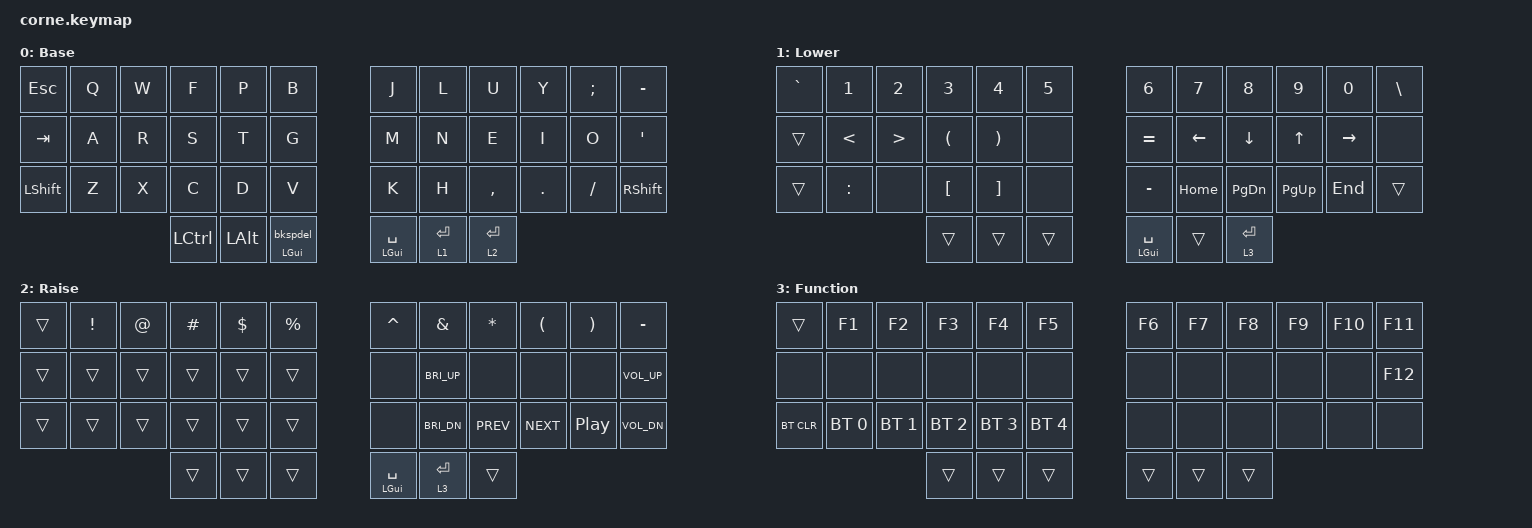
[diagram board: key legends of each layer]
        /*
        * Copyright (c) 2020 The ZMK Contributors
        *
        * SPDX-License-Identifier: MIT
        */

        #include <behaviors.dtsi>
        #include <dt-bindings/zmk/keys.h> 
        #include <dt-bindings/zmk/bt.h>


        &lt {
                quick-tap-ms = <200>;
        };
        &mt {
                quick-tap-ms = <200>;
        };
        / {
                behaviors {
                        hm:     homerow_mods {
                                compatible = "zmk,behavior-hold-tap";
                                #binding-cells = <2>;
                                tapping-term-ms = <200>;    // <---[[moderate duration]]
                                quick-tap-ms = <100>;
                                require-prior-idle-ms = <200>;
                                flavor = "tap-preferred";
                                bindings = <&kp>, <&kp>;
                        };
                        am: alt_mods {
                                compatible = "zmk,behavior-hold-tap";
                                #binding-cells = <2>;
                                tapping-term-ms = <500>;    // <---[[longer duration]]
                                quick-tap-ms = <100>;
                                require-prior-idle-ms = <500>;
                                flavor = "tap-preferred";
                                bindings = <&kp>, <&kp>;
                        };
                        bksp_or_space: bksp_or_space {
                                compatible = "zmk,behavior-mod-morph";
                                #binding-cells = <0>;
                                bindings = <&kp BKSP>, <&kp SPACE>;
                                mods = <(MOD_LCTL|MOD_RCTL)>;
                        };
                        bkspdel: backspace_delete {
                                compatible = "zmk,behavior-mod-morph";
                                #binding-cells = <0>;
                                bindings = <&bksp_or_space>, <&kp DELETE>;
                                mods = <(MOD_LSFT|MOD_RSFT)>;
                        };
                        bkspdel_layer: bkspdel_layer {
                                compatible = "zmk,behavior-hold-tap";
                                #binding-cells = <2>;
                                tapping-term-ms = <250>;
                                flavor = "tap-preferred";
                                bindings = <&kp>, <&bkspdel>;
                        };
                        space_cmd_ht: space_cmd_ht {
                                compatible = "zmk,behavior-hold-tap";
                                #binding-cells = <2>;
                                tapping-term-ms = <250>;
                                flavor = "tap-preferred";
                                bindings = <&kp>, <&kp>;
                        };

                };
                macros {
                        space_cmd: space_cmd {
                                compatible = "zmk,behavior-macro";
                                #binding-cells = <0>;
                                bindings
                                        = <&macro_press &kp LGUI>
                                        , <&macro_tap &kp SPACE>
                                        , <&macro_release &kp LGUI>
                                        ;
                        };
                };
                keymap {
                        compatible = "zmk,keymap";

                        default_layer {
        // -----------------------------------------------------------------------------------------
        // |  esc |  Q  |  W  |  F  |  p  |  b  |   |  j  |  l   |  u  |  y  |  ;  |  -
        // | tab |  A  |  r  |  s  |  t  |  G  |   |  m  |  n   |  e  |  i  |  o  |   '  |
        // | SHFT |  Z  |  X  |  C  |  d  |  v  |   |  k  |  h   |  ,  |  .  |  /  |   SHFT  |
        //          | ctrl | option | cmd-BKSPDESPACE |   | cmd-SPC |  lower-ENTER | layer-3

                                display-name = "Base";
                                bindings = <
        &kp ESC   &kp Q &kp W &kp F &kp P &kp B   &kp J &kp L  &kp U     &kp Y   &kp SEMI    &kp MINUS
        &kp TAB &kp A &kp R &kp S &kp T &kp G   &kp M &kp N  &kp E     &kp I   &kp O   &kp SQT
        &kp LSHFT &kp Z &kp X &kp C &kp D &kp V   &kp K &kp H  &kp COMMA &kp DOT &kp FSLH &kp RSHFT
                        &kp LCTRL &kp LALT &bkspdel_layer LGUI 0   &mt LGUI SPACE  &lt 1 ENTER  &lt 2 ENTER
                                >;
                        };
                        lower_layer {
        // ----------------------------------------------------------------------------------------
        // |   GRAVE   |  1  |  2  |  3  |  4  |  5  |   |  6  |  7   |  8   |  9  |  0  |   \   |
        // |      |  <  |  >  |  (  |  )  |     |   |  =  | LFT  |  DWN | UP  | RGT |     |
        // |      |  :  |     |  [  |  ]  |     |   |  -  | HOME | PGDN | PGUP| END |       |
        //                    |     |     |  cmd-bkspdel   |   |     |      |      |
                                display-name = "Lower";
                                bindings = <
                &kp GRAVE   &kp N1  &kp N2  &kp N3  &kp N4  &kp N5      &kp N6     &kp N7    &kp N8   &kp N9    &kp N0   &kp BSLH
                &trans   &kp LT  &kp GT  &kp LPAR  &kp RPAR &none   &kp EQUAL  &kp LEFT &kp DOWN &kp UP &kp RIGHT &none
                &trans &kp COLON &none &kp LBKT &kp RBKT  &none    &kp MINUS &kp HOME &kp PG_DN &kp PG_UP &kp END &trans
                        &trans &trans &trans  &space_cmd_ht LGUI SPACE &trans &lt 3 ENTER
                                >;
                        };



                        raise_layer {
        // ----------------------------------------------------------------------------------------
        // |      |  !  |  @  |  #  |  $  |  %  |||  ^  |  &   |  *   |  ( |  )  |   -   |
        // |      |     |     |     |     |     |||     | C_BRI_UP  |    |      |    |   C_VOL_UP  |
        // |      |     |     |     |     |     |||     | C_BRI_DN | PREV | NEXT| PLAY |  C_VOL_DN |
        //                    |     |     |     |||     |      |      |
                                display-name = "Raise";
                                bindings = <
                &trans  &kp EXCL  &kp AT  &kp HASH  &kp DOLLAR  &kp PRCNT      &kp CARET     &kp AMPS    &kp STAR   &kp LPAR    &kp RPAR   &kp MINUS
                &trans  &trans &trans  &trans  &trans &trans   &none  &kp C_BRI_UP &none &none &none &kp C_VOL_UP 
                &trans  &trans &trans  &trans  &trans &trans   &none  &kp C_BRI_DN &kp C_PREV &kp C_NEXT &kp C_PP &kp C_VOL_DN
                        &trans &trans &trans  &space_cmd_ht LGUI SPACE &lt 3 ENTER &trans
                                >;
                        };
 

                        function_layer {
        // -----------------------------------------------------------------------------------------
        // |     |  F1    |  F2  |  F3  |  F4  |  F5        |||       F6   |  F7  |  F8  |  F9  |  F10  |  F11    |
        // |        |        |      |      |      |            |||            |      |      |      |       |  F12    |
        // |    BT_CLR  |  BT1  | BT2  | BT3  |  BT4 | BT5      |||           |      |     |      |    

                                display-name = "Function";
                                bindings = <
        &trans  &kp F1 &kp F2 &kp F3 &kp F4 &kp F5   &kp F6 &kp F7  &kp F8 &kp F9 &kp F10 &kp F11
        &none  &none  &none  &none  &none  &none      &none  &none  &none  &none  &none  &kp F12
        &bt BT_CLR  &bt BT_SEL 0 &bt BT_SEL 1 &bt BT_SEL 2 &bt BT_SEL 3 &bt BT_SEL 4       &none  &none  &none  &none  &none  &none 

                &trans &trans &trans  &trans &trans &trans
                                >;
                        };
                };
        };
